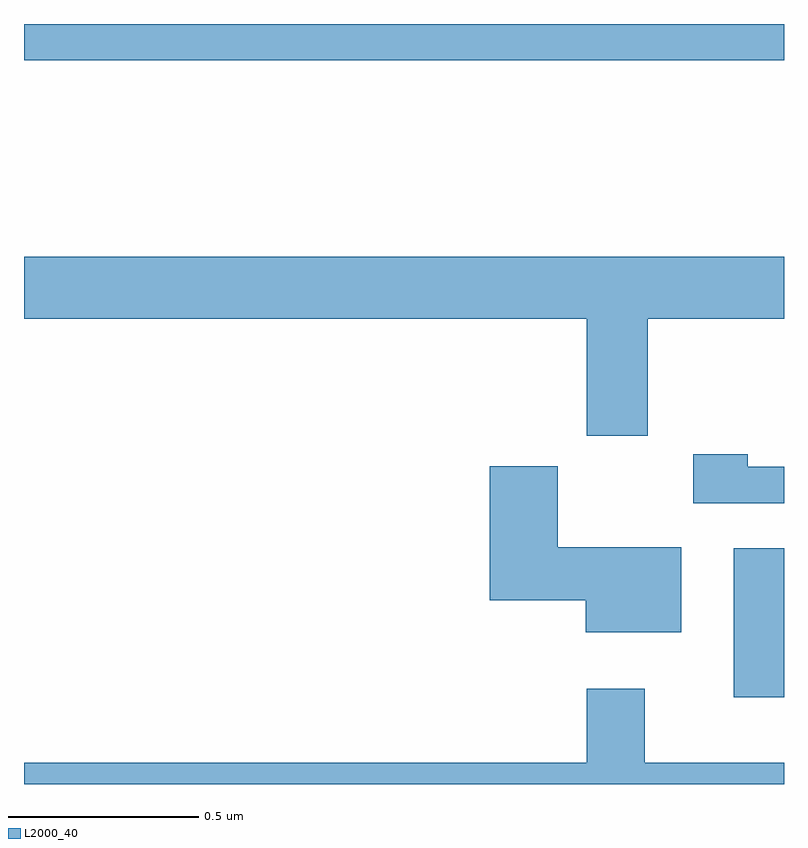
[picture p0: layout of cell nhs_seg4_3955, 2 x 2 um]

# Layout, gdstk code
import gdstk
lib = gdstk.Library(unit=1e-6, precision=1e-09)
def R(c, l, rs):  # rectangles x0, y0, x1, y1
    for r in rs: c.add(gdstk.rectangle(r[:2], r[2:], *l))
def P(c, l, *ps):  # polygons
    for p in ps: c.add(gdstk.Polygon(p, *l))
L2000_40 = (2000, 40)

nhs_seg4_3955 = lib.new_cell('nhs_seg4_3955')
R(nhs_seg4_3955, L2000_40, [(160.868,825.128,161,825.52), (159,826.804,161,826.9)])
P(nhs_seg4_3955, L2000_40, [(160.641,826.124),(161,826.124),(161,826.288),(159,826.288),(159,826.124),(160.481,826.124),(160.481,825.816),(160.641,825.816)],
  [(161,825.735),(160.905,825.735),(160.905,825.768),(160.761,825.768),(160.761,825.639),(161,825.639)],
  [(160.729,825.523),(160.404,825.523),(160.404,825.736),(160.226,825.736),(160.226,825.383),(160.478,825.383),(160.478,825.299),(160.729,825.299)],
  [(161,824.956),(160.633,824.956),(160.633,825.151),(160.481,825.151),(160.481,824.956),(159,824.956),(159,824.9),(161,824.9)])

lib.write_gds('nhs_seg4_3955.gds')
